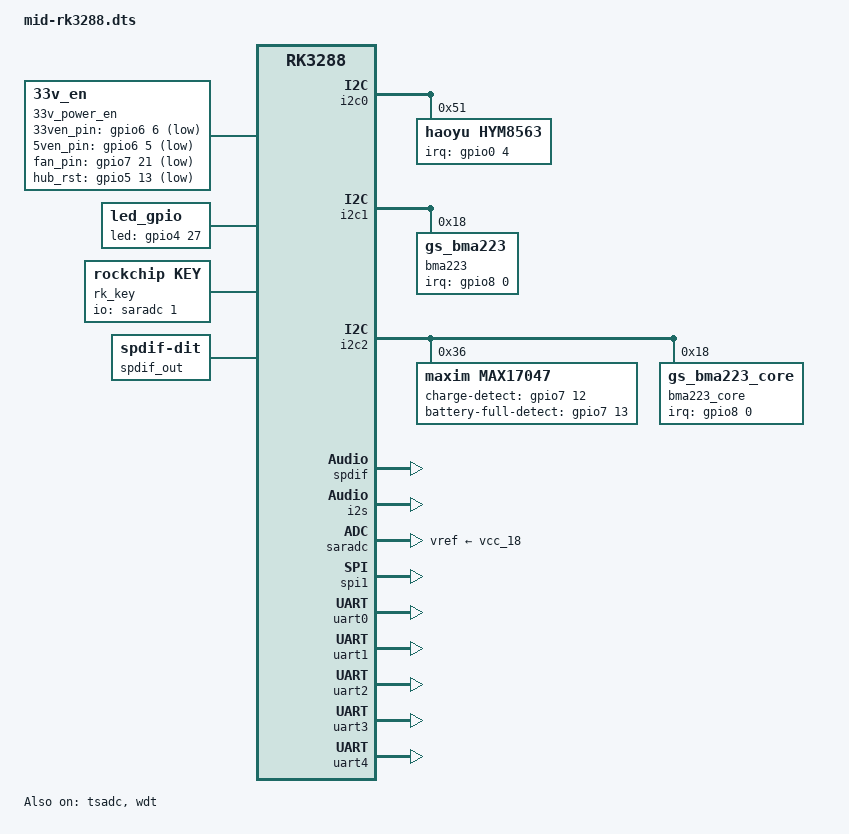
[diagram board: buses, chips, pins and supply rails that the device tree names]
#include "rk3288-act8846.dtsi"
#include "alc5640.dtsi"


#include "rp-lcd-mipi-5-720-1280.dtsi"


/ {
	
	fiq-debugger {
		compatible = "rockchip,fiq-debugger";
		interrupts = <GIC_SPI 155 IRQ_TYPE_LEVEL_HIGH>;
		rockchip,serial-id = <2>;
		rockchip,wake-irq = <0>;
		rockchip,irq-mode-enable = <0>;  /* If enable uart uses irq instead of fiq */
		rockchip,baudrate = <115200>;  /* Only 115200 and 1500000 */
		pinctrl-names = "default";
		pinctrl-0 = <&uart2_xfer>;
	};

        33v_power_en {
                compatible = "33v_en";
                33ven_pin =  <&gpio6 6  1>;
                5ven_pin =   <&gpio6 5  1>;
		//5ven_pin_2 =<&gpio6 7 1>;
                fan_pin =    <&gpio7 21 1>;
		hub_rst =    <&gpio5 13 1>;
		rp_not_deep_leep = <0>;
                status = "okay";
        };

        led_gpio{
                compatible = "led_gpio";
                status = "okay";
                led_gpio =<&gpio4 27 0>;
        };

	rp_gpio{
		status = "okay";
		compatible = "rp_gpio";
		gpio5c0 {
			gpio_num = <&gpio5 16 GPIO_ACTIVE_LOW>;
			gpio_function = <0>;
			gpio_event = <KEY_F14>;
		        send_mode = <0>;  
		};
		gpio7a4 {
			gpio_num = <&gpio7 4 GPIO_ACTIVE_LOW>;
			gpio_function = <0>;	
		};
		gpio5c1 {
			gpio_num = <&gpio5 17 GPIO_ACTIVE_LOW>;
			gpio_function = <0>;	
		};
		gpio5b3 {
			gpio_num = <&gpio5 11 GPIO_ACTIVE_LOW>;
			gpio_function = <0>;	
		};
		gpio5b2 {
			gpio_num = <&gpio5 10 GPIO_ACTIVE_LOW>;
			gpio_function = <0>;	
		};
		gpio5b4 {
			gpio_num = <&gpio5 12 GPIO_ACTIVE_LOW>;
			gpio_function = <0>;	
		};
    		gpio8a3 {
			gpio_num = <&gpio8 3 GPIO_ACTIVE_LOW>;
			gpio_function = <0>;	
		};
		gpio6b3 {
			gpio_num = <&gpio6 11 GPIO_ACTIVE_LOW>;
			gpio_function = <0>;	
		};
		gpio0b3{
			gpio_num = <&gpio0 11 GPIO_ACTIVE_LOW>;
			gpio_function = <0>;	
		};
	};
	rk_key: rockchip-key {
		compatible = "rockchip,key";
		status = "okay";

		io-channels = <&saradc 1>;

		vol-up-key {
			linux,code = <115>;
			label = "volume up";
			rockchip,adc_value = <1>;
		};

		vol-down-key {
			linux,code = <114>;
			label = "volume down";
			rockchip,adc_value = <170>;
		};

		power-key {
			gpios = <&gpio0 5 GPIO_ACTIVE_LOW>;
			linux,code = <116>;
			pinctrl-names = "default";
			pinctrl-0 = <&pwrbtn>;
			label = "power";
			gpio-key,wakeup;
		};

		menu-key {
			linux,code = <59>;
			label = "menu";
			rockchip,adc_value = <355>;
		};

		home-key {
			linux,code = <102>;
			label = "home";
			rockchip,adc_value = <746>;
		};

		back-key {
			linux,code = <158>;
			label = "back";
			rockchip,adc_value = <560>;
		};

		camera-key {
			linux,code = <212>;
			label = "camera";
			rockchip,adc_value = <450>;
		};
	};







	spdif-sound {
                status = "okay";
                compatible = "simple-audio-card";
		simple-audio-card,format = "spdif";
		simple-audio-card,mclk-fs = <512>;
                simple-audio-card,name = "hdmi,spdif";
		simple-audio-card,cpu {
				sound-dai = <&spdif>;
		};
		simple-audio-card,codec {
				sound-dai = <&hdmi>;
		};
        };

	spdif_out: spdif-out {
                status = "okay";
		compatible = "linux,spdif-dit";
		#sound-dai-cells = <0>;
	};

};

&i2c0 {
	status = "okay";
        hym8563: hym8563@51 {
                compatible = "haoyu,hym8563";
                reg = <0x51>;

                interrupt-parent = <&gpio0>;
                interrupts = <4 IRQ_TYPE_EDGE_FALLING>;

                pinctrl-names = "default";
                pinctrl-0 = <&rtc8563_int>;

                #clock-cells = <0>;
                clock-output-names = "xin32k";
        };

};

&i2c1 {
	status = "okay";

	bma223: bma223@18{
		status = "okay";
		compatible = "gs_bma223";
		reg = <0x18>;
		type = <2>;
		irq-gpio = <&gpio8 0 IRQ_TYPE_EDGE_RISING>;
		irq_enable = <0>;
		poll_delay_ms = <200>;
		layout = <8>;
	};

};


&i2c2 {
	status = "okay";
	max17047@36 {
		status = "okay";
                compatible = "maxim,max17047";
                reg = <0x36>;
                charge-detect-gpio = <&gpio7 12 GPIO_ACTIVE_HIGH>;
                battery-full-detect-gpio = <&gpio7 13 GPIO_ACTIVE_HIGH>;
         };

	



	bma223_core: bma223_core@18{
		status = "okay";
		compatible = "gs_bma223_core";
		reg = <0x18>;
		type = <2>;
		irq-gpio = <&gpio8 0 IRQ_TYPE_EDGE_RISING>;
		irq_enable = <0>;
		poll_delay_ms = <200>;
		layout = <8>;
	};
};

&spdif {
	#sound-dai-cells = <0>;
	status = "okay";
};
&i2s {
	#sound-dai-cells = <0>;
	status = "okay";
};


&saradc {
	vref-supply = <&vcc_18>;
	status = "okay";
};

&spi1 {
	pinctrl-names = "default";
	pinctrl-0 = <&spi1_clk>, <&spi1_cs0>, <&spi1_tx>, <&spi1_rx>;
	status = "okay";
};

&spi2 {
	pinctrl-names = "default";
	pinctrl-0 = <&spi2_clk>, <&spi2_cs0>, <&spi2_tx>, <&spi2_rx>;
	status = "disabled";
};

&tsadc {
	rockchip,hw-tshut-mode = <0>;
	rockchip,hw-tshut-polarity = <0>;
	rockchip,hw-tshut-temp = <850000>;
	status = "okay";
};


&uart0 {
	pinctrl-names = "default";
	pinctrl-0 = <&uart0_xfer>, <&uart0_cts>;
	status = "okay";
};

&uart1 {
	status = "okay";
};

&uart2 {
	status = "okay";
};

&uart3 {
	status = "okay";
};

&uart4 {
	status = "okay";
};

&wdt {
	status = "okay";
};


&pinctrl {

	rtc8563 {
                rtc8563_int: rtc8563-int {
                        rockchip,pins = <RK_GPIO0 4 RK_FUNC_GPIO &pcfg_pull_up>;
                };
	};
	buttons {
		pwrbtn: pwrbtn {
			rockchip,pins = <0 5 RK_FUNC_GPIO &pcfg_pull_up>;
		};
	};
};


&pwm1 {
        compatible = "rockchip,remotectl-pwm";
        interrupts = <GIC_SPI 78 IRQ_TYPE_LEVEL_HIGH>;
        remote_pwm_id = <1>;
        handle_cpu_id = <2>;
        status = "disabled";
        //status = "okay";

    ir_key0{
        rockchip,usercode = <0x9f00>;
        rockchip,key_table =
            <0xa8   KEY_POWER>,
            <0xe9   KEY_MENU>,
            <0xb0   KEY_BACK>,
            <0xb8   KEY_HOME>,
            <0x75   KEY_SYSRQ>,
            <0x00   KEY_VOLUMEUP>,
            <0xa2   KEY_VOLUMEDOWN>,
            <0xfd   KEY_ENTER>,
            <0xbc   KEY_UP>,
            <0xf5   KEY_DOWN>,
            <0xf9   KEY_LEFT>,
            <0xf1   KEY_RIGHT>;
            //<0x75   KEY_RIGHTALT>,
            //<0x75   KEY_TAB>,
    };
};

